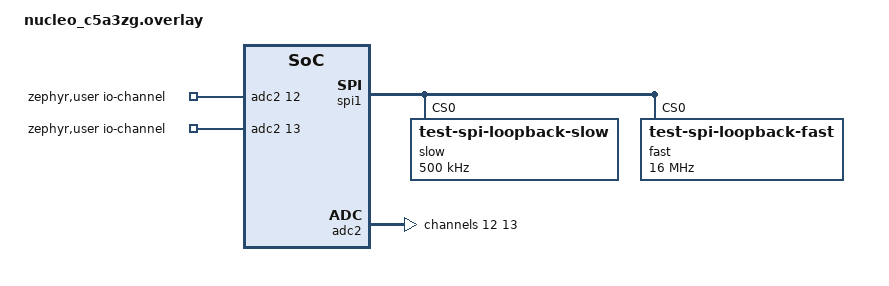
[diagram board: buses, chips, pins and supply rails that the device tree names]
/*
 * Copyright (c) 2026 STMicroelectronics
 *
 * SPDX-License-Identifier: Apache-2.0
 */

tst_dma0: &lpdma1 {};

&spi1 {
	dmas = <&lpdma1 0 5 STM32_DMA_PERIPH_TX
		&lpdma1 1 4 STM32_DMA_PERIPH_RX>;
	dma-names = "tx", "rx";
	fifo-enable;
	slow@0 {
		compatible = "test-spi-loopback-slow";
		reg = <0>;
		spi-max-frequency = <500000>;
	};
	fast@0 {
		compatible = "test-spi-loopback-fast";
		reg = <0>;
		spi-max-frequency = <16000000>;
	};
};

/ {
	zephyr,user {
		io-channels = <&adc2 12>, <&adc2 13>;
	};
};

&adc2 {
	dmas = <&lpdma1 0 1 (STM32_DMA_PERIPH_RX | STM32_DMA_MEM_16BITS | STM32_DMA_PERIPH_16BITS)>;
	dma-names = "lpdma";
	#address-cells = <1>;
	#size-cells = <0>;
	channel@c {
		reg = <12>;
		zephyr,gain = "ADC_GAIN_1";
		zephyr,reference = "ADC_REF_INTERNAL";
		zephyr,acquisition-time = <ADC_ACQ_TIME_MAX>;
		zephyr,resolution = <12>;
	};
	channel@d {
		reg = <13>;
		zephyr,gain = "ADC_GAIN_1";
		zephyr,reference = "ADC_REF_INTERNAL";
		zephyr,acquisition-time = <ADC_ACQ_TIME_MAX>;
		zephyr,resolution = <12>;
	};
};

&lpdma1 {
	status = "okay";
};

dut: &usart2 {
	dmas = <&lpdma1 0 15 STM32_DMA_PERIPH_TX>,
	       <&lpdma1 1 14 STM32_DMA_PERIPH_RX>;
	dma-names = "tx", "rx";
};
